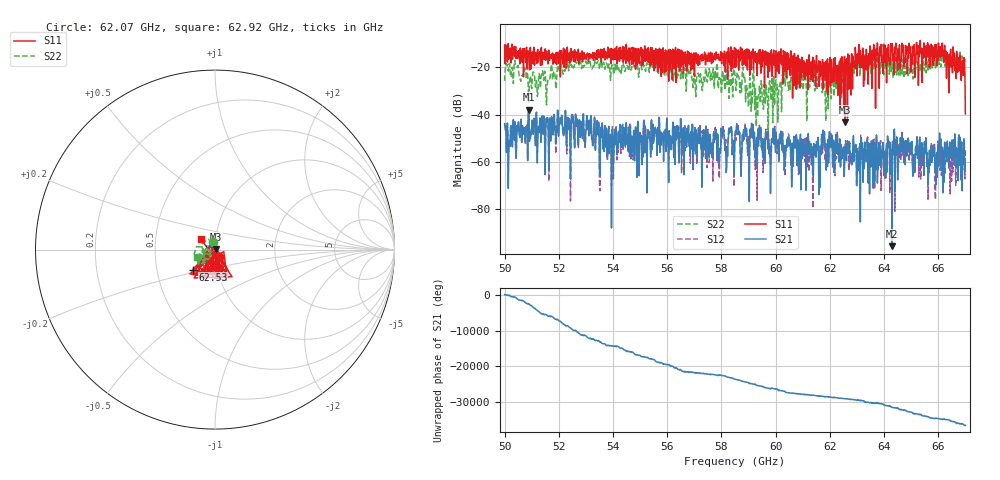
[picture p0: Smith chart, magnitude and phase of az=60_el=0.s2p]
!Created with skrf (http://scikit-rf.org).
# GHz S RI R 50.0
!freq ReS11 ImS11 ReS21 ImS21 ReS12 ImS12 ReS22 ImS22
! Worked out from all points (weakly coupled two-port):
!   1001 points, 50 GHz to 67 GHz, reference 50 ohm
!   highest |S21| = -37.77 dB at 50.88 GHz (marker M1); lowest = -95.6 dB at 64.3 GHz (marker M2)
!   lowest |S11| = -43.2 dB at 62.56 GHz (marker M3), VSWR 1.01, Z = 50.7 + j0.11 ohm
!   |S11| at or under -10 dB: 50.14 GHz to 63.75 GHz (13.62 GHz wide, 23.9 % of centre); 63.75 GHz to 64.25 GHz (491.4 MHz wide, 0.768 % of centre); 66.15 GHz to end of sweep (the widest 3 of 14)
!   |S22| runs from -54.6 to -13.5 dB; largest |S21 - S12| = 0.0027
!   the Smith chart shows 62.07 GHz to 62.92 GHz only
!   S11 on the Smith chart (normalised r, x): 62.07 GHz: 1.04, -0.09; 62.53 GHz: 0.76, -0.17; 62.92 GHz: 0.85, +0.10
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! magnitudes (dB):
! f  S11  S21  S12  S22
! 50 GHz  -10.4  -44.2  -43.4  -25.7
! 50.2 GHz  -12.8  -53.2  -53.4  -21.2
! 50.88 GHz  -14.2  -37.8  -37.4  -34.9
! 52.84 GHz  -14.3  -45.3  -45.4  -20.5
! 53.94 GHz  -12.0  -87.9  -70.0  -20.2
! 55.68 GHz  -14.2  -52.6  -50.7  -22.5
! 58.5 GHz  -20.0  -49.2  -48.7  -23.1
! 58.59 GHz  -15.6  -45.5  -45.9  -22.1
! 59.3 GHz  -14.3  -49.6  -49.9  -32.5
! 59.42 GHz  -14.2  -50.2  -48.7  -29.9
! 60.15 GHz  -13.5  -48.5  -48.1  -27.7
! 60.32 GHz  -20.4  -63.6  -57.9  -21.3
! 61.34 GHz  -23.6  -53.5  -54.6  -23.6
! 62.07 GHz  -26.3  -48.5  -52.3  -26.8
! 62.53 GHz  -15.5  -66.2  -57.3  -19.3
! 62.56 GHz  -43.2  -54.3  -52.3  -19.2
! 62.92 GHz  -20.0  -55.0  -56.1  -19.5
! 64.18 GHz  -17.4  -51.1  -51.7  -18.7
! 64.3 GHz  -9.8  -95.6  -60.3  -16.8
! 66.08 GHz  -15.7  -50.5  -53.5  -15.1
! 66.9 GHz  -16.9  -55.9  -55.4  -15.8
! 67 GHz  -39.7  -60.5  -53.9  -15.5
